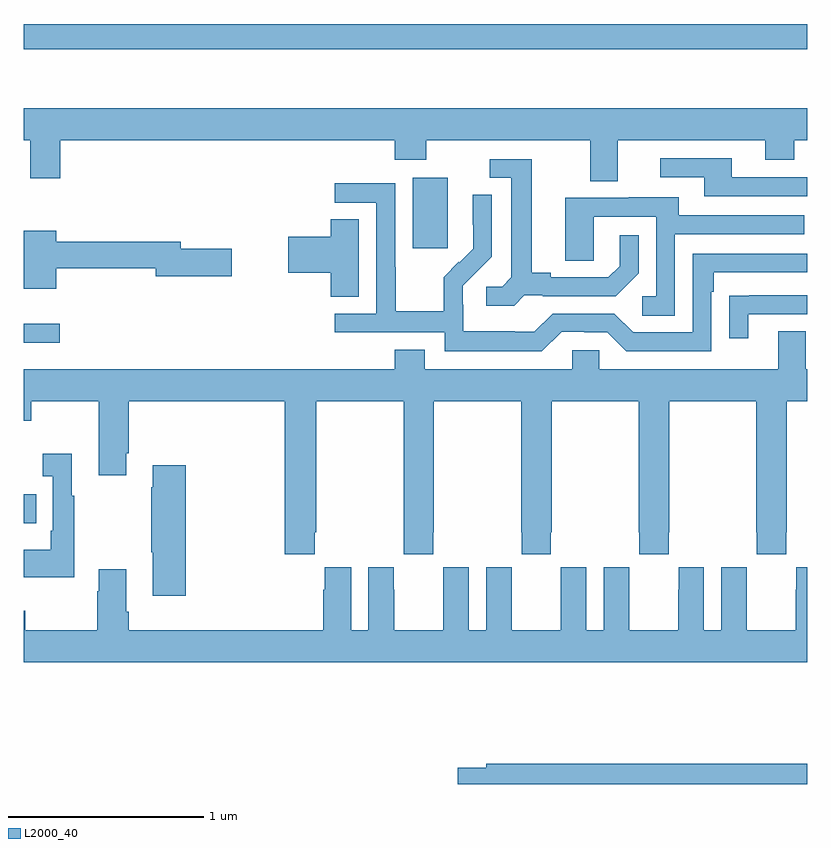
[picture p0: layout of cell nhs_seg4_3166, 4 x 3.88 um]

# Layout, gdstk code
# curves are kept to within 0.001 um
import gdstk
lib = gdstk.Library(unit=1e-6, precision=1e-09)
def R(c, l, rs):  # rectangles x0, y0, x1, y1
    for r in rs: c.add(gdstk.rectangle(r[:2], r[2:], *l))
def P(c, l, *ps):  # polygons
    for p in ps: c.add(gdstk.Polygon(p, *l))
L2000_40 = (2000, 40)

nhs_seg4_3166 = lib.new_cell('nhs_seg4_3166')
R(nhs_seg4_3166, L2000_40, [(279,764.231,279.065,764.379), (279,765.152,279.184,765.249), (280.985,765.633,281.164,765.994), (279,766.65,283,766.778)])
P(nhs_seg4_3166, L2000_40, [(282.031,766.184),(282.785,766.184),(282.785,766.085),(282.933,766.085),(282.933,766.184),(283,766.184),(283,766.348),(279,766.348),(279,766.184),(279.035,766.184),(279.035,765.99),(279.188,765.99),(279.188,766.184),(280.895,766.184),(280.895,766.085),(281.055,766.085),(281.055,766.184),(281.891,766.184),(281.891,765.976),(282.031,765.976)],
  [(283,765.996),(282.613,765.996),(282.613,766.092),(282.249,766.092),(282.249,765.996),(282.473,765.996),(282.473,765.9),(283,765.9)],
  [(281.556,765.393),(281.65,765.393),(281.65,765.39),(282.022,765.39),(282.138,765.506),(282.138,765.7),(282.041,765.7),(282.041,765.543),(281.984,765.486),(281.689,765.486),(281.689,765.509),(281.593,765.509),(281.593,766.089),(281.379,766.089),(281.379,765.993),(281.489,765.993),(281.489,765.485),(281.442,765.438),(281.361,765.438),(281.361,765.341),(281.504,765.341)],
  [(281.745,765.207),(281.861,765.207),(281.861,765.204),(281.979,765.204),(282.075,765.108),(282.51,765.108),(282.51,765.413),(282.523,765.413),(282.523,765.51),(283,765.51),(283,765.606),(282.414,765.606),(282.414,765.204),(282.111,765.204),(282.015,765.3),(281.7,765.3),(281.607,765.207),(281.507,765.207),(281.507,765.211),(281.244,765.211),(281.244,765.345),(281.242,765.345),(281.242,765.442),(281.388,765.59),(281.388,765.908),(281.292,765.908),(281.292,765.754),(281.294,765.754),(281.294,765.632),(281.223,765.561),(281.22,765.564),(281.143,765.487),(281.143,765.313),(280.899,765.313),(280.899,765.536),(280.896,765.536),(280.896,765.966),(280.587,765.966),(280.587,765.867),(280.8,765.867),(280.8,765.3),(280.587,765.3),(280.587,765.204),(281.148,765.204),(281.148,765.107),(281.645,765.107)],
  [(282.324,765.705),(282.983,765.705),(282.983,765.801),(282.343,765.801),(282.343,765.895),(282.089,765.895),(282.089,765.891),(281.765,765.891),(281.765,765.571),(281.91,765.571),(281.91,765.795),(282.228,765.795),(282.228,765.39),(282.156,765.39),(282.156,765.289),(282.324,765.289)],
  [(280.711,765.782),(280.568,765.782),(280.568,765.692),(280.35,765.692),(280.35,765.509),(280.568,765.509),(280.568,765.385),(280.711,765.385)],
  [(279.166,765.532),(279.674,765.532),(279.674,765.49),(280.063,765.49),(280.063,765.632),(279.802,765.632),(279.802,765.668),(279.166,765.668),(279.166,765.724),(279,765.724),(279,765.428),(279.166,765.428)],
  [(282.697,765.297),(283,765.297),(283,765.393),(282.703,765.393),(282.703,765.392),(282.601,765.392),(282.601,765.174),(282.697,765.174)],
  [(280.487,764.185),(280.494,764.185),(280.494,764.852),(280.939,764.852),(280.939,764.185),(280.941,764.185),(280.941,764.073),(281.091,764.073),(281.091,764.185),(281.094,764.185),(281.094,764.852),(281.539,764.852),(281.539,764.185),(281.541,764.185),(281.541,764.073),(281.691,764.073),(281.691,764.185),(281.694,764.185),(281.694,764.852),(282.139,764.852),(282.139,764.185),(282.141,764.185),(282.141,764.073),(282.291,764.073),(282.291,764.185),(282.294,764.185),(282.294,764.852),(282.739,764.852),(282.739,764.185),(282.741,764.185),(282.741,764.073),(282.891,764.073),(282.891,764.185),(282.894,764.185),(282.894,764.852),(283,764.852),(283,765.016),(282.991,765.016),(282.991,765.211),(282.851,765.211),(282.851,765.016),(281.937,765.016),(281.937,765.114),(281.799,765.114),(281.799,765.016),(281.047,765.016),(281.047,765.115),(280.895,765.115),(280.895,765.016),(279,765.016),(279,764.753),(279.039,764.753),(279.039,764.852),(279.383,764.852),(279.383,764.475),(279.523,764.475),(279.523,764.587),(279.536,764.587),(279.536,764.852),(280.334,764.852),(280.334,764.073),(280.487,764.073)],
  [(279.259,764.371),(279.247,764.371),(279.247,764.584),(279.099,764.584),(279.099,764.471),(279.15,764.471),(279.15,764.191),(279.138,764.191),(279.138,764.095),(279,764.095),(279,763.955),(279.259,763.955)],
  [(279.827,764.527),(279.659,764.527),(279.659,764.414),(279.652,764.414),(279.652,764.083),(279.659,764.083),(279.659,763.86),(279.827,763.86)],
  [(283,764.005),(282.942,764.005),(282.942,763.892),(282.941,763.892),(282.941,763.684),(282.691,763.684),(282.691,763.892),(282.69,763.892),(282.69,764.005),(282.56,764.005),(282.56,763.684),(282.472,763.684),(282.472,764.005),(282.342,764.005),(282.342,763.892),(282.341,763.892),(282.341,763.684),(282.091,763.684),(282.091,763.892),(282.09,763.892),(282.09,764.005),(281.96,764.005),(281.96,763.684),(281.872,763.684),(281.872,764.005),(281.742,764.005),(281.742,763.892),(281.741,763.892),(281.741,763.684),(281.491,763.684),(281.491,763.892),(281.49,763.892),(281.49,764.005),(281.36,764.005),(281.36,763.684),(281.272,763.684),(281.272,764.005),(281.142,764.005),(281.142,763.892),(281.141,763.892),(281.141,763.684),(280.891,763.684),(280.891,763.892),(280.89,763.892),(280.89,764.005),(280.76,764.005),(280.76,763.684),(280.672,763.684),(280.672,764.005),(280.538,764.005),(280.538,763.892),(280.529,763.892),(280.529,763.684),(279.536,763.684),(279.536,763.78),(279.523,763.78),(279.523,763.996),(279.383,763.996),(279.383,763.883),(279.376,763.883),(279.376,763.684),(279.009,763.684),(279.009,763.783),(279,763.783),(279,763.52),(283,763.52)],
  [(283,763.004),(281.362,763.004),(281.362,762.984),(281.216,762.984),(281.216,762.9),(283,762.9)])

lib.write_gds('nhs_seg4_3166.gds')
